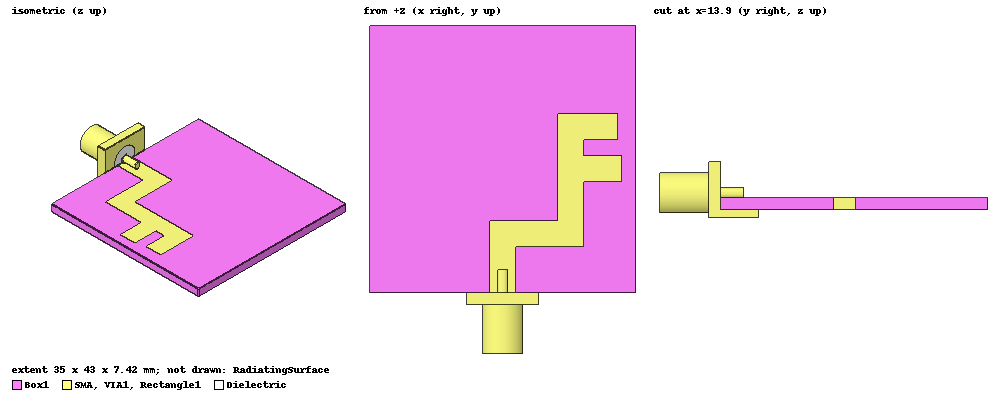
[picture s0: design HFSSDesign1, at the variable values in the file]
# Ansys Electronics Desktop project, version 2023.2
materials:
  vacuum: permittivity=1
  FR4_epoxy: permittivity=4.4 dielectric_loss_tangent=0.02
  Teflon (tm): permittivity=2.1 dielectric_loss_tangent=0.001
  brass: conductivity=15000000
  copper: permeability=0.999991 conductivity=58000000

design HFSSDesign1 (HFSS, HFSS Modal Network, model units mm)
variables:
  SubLen = 35mm
  SubWidth = 35mm
  SubHi = 1.6mm
  PIFA1_FL = 4.37mm
  PIFA1_LEN = 14mm
  PIFA2_FL = 21mm
  PIFA1_SEP = 2mm
  FeedWidth = 3.5mm
  FeedLen = 6mm
  PIFA1_OFF = 5.4mm
  PIFA1_SL = 5mm
  XX = 0mm
  PIFA2_Width = 3.5mm
  PIFA1_width = 3.5mm
  PIFA2_SEP = 6mm
  PIFA2_RAD = 16mm
  PIFA2_SL = 12mm
  ViaR1 = 0.5*PIFA1_width
  ViaR2 = 0.5*PIFA2_Width
  h = 1.6mm
  Inner_length = 3mm
  SRRpos = 3mm
  SRRslot = 0.5mm
  SRRThick = 0.5mm
  SRRinnerRad = 0.5mm
  StubLen = 5.8mm
  StubWidth = 15mm
  GndLen = 20mm
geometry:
  Box1 [FR4_epoxy] = box(corner=(-0.5*SubWidth, 0mm, 0mm), size=(SubWidth, SubLen, SubHi))
  VIA1 [copper] = cylinder(axis=Z, base_centre=(0.5*FeedWidth-XX+PIFA1_OFF+PIFA1_width+PIFA1_SL-ViaR1, FeedLen+PIFA1_LEN-PIFA1_width-PIFA1_SEP+ViaR1, 0), radius=1.4142136mm, height=SubHi)
  Dielectric [Teflon (tm)] = cylinder(axis=Y, base_centre=(0mm, 0mm, h+0.63mm), radius=2.43mm, height=-6mm)
  Dielectric_1 = Dielectric.copy()
  Inner = cylinder(axis=Y, base_centre=(0, Inner_length, h+0.63mm), radius=0.63mm, height=-6mm-Inner_length)
  Inner_1 = Inner.copy()
  Dielectric.subtract(Inner_1)
  Dielectric_2 = Dielectric.copy()
  SMA [brass] = box(corner=(-4.76mm, 0mm, -1.08mm), size=(9.52mm, -1.64mm, 7.42mm))
  Inner_2 = Inner.copy()
  SMA.subtract(Dielectric_2, Inner_2)
  Box3 = box(corner=(4.76mm, 0mm, -1.08mm), size=(-1.02mm, 5mm, 1.08mm))
  Box2 = box(corner=(-4.76mm, 0mm, -1.08mm), size=(1.02mm, 5mm, 1.08mm))
  SMA.unite(Box3, Box2)
  Outer = cylinder(axis=Y, base_centre=(0mm, 0mm, h+0.63mm), radius=2.61mm, height=-8mm)
  Outer.subtract(Dielectric_1)
  Outer1 = cylinder(axis=Y, base_centre=(0mm, 0mm, h+0.63mm), radius=2.43mm, height=-8mm)
  Dielectric1 = cylinder(axis=Y, base_centre=(0mm, 0mm, h+0.63mm), radius=2.43mm, height=-6mm)
  Dielectric_3 = Dielectric1.copy()
  Outer1.subtract(Dielectric_3)
  Outer.subtract(Outer1)
  SMA.unite(Outer, Inner)
  Dielectric1.delete()
  RadiatingSurface [vacuum] = region(absolute_offset=21.276596mm on all sides)
  Gnd1 = rectangle(corner=(-0.5*SubWidth, 0mm, 0mm), x_size=SubWidth, y_size=GndLen)
  IF1_F = rectangle(corner=(0.5*PIFA2_Width-XX+PIFA1_OFF+PIFA1_width, FeedLen+PIFA1_LEN, SubHi), x_size=PIFA1_FL, y_size=PIFA1_width)
  IFOFF1 = rectangle(corner=(0.5*PIFA2_width, FeedLen, SubHi), x_size=PIFA1_OFF+PIFA1_width, y_size=PIFA1_width)
  IFSL1 = rectangle(corner=(0.5*PIFA2_Width-XX+PIFA1_OFF+PIFA1_width, FeedLen+PIFA1_LEN-PIFA1_SEP-PIFA1_width, SubHi), x_size=PIFA1_SL, y_size=PIFA1_width)
  INFRad1 = rectangle(corner=(0.5*PIFA2_Width-XX+PIFA1_OFF, FeedLen+PIFA1_width, SubHi), x_size=PIFA1_width, y_size=PIFA1_LEN)
  IF1_F.unite(IFOFF1, IFSL1, INFRad1)
  Rectangle1 = rectangle(corner=((-3.5*0.5) mm, 0mm, 1.6mm), x_size=3.5mm, y_size=(6+3.5) mm)
  Rectangle1.unite(IF1_F)
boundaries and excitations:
  SMA: Finite Conductivity Objects=SMA Conductivity=15000000 Permeability=1 IsInternal
  Open1: Radiation Objects=RadiatingSurface
  FiniteCond3: Finite Conductivity Objects=Gnd1 Conductivity=58000000 Permeability=1 IsInternal
  FiniteCond4: Finite Conductivity Objects=Rectangle1 Conductivity=58000000 Permeability=1 IsInternal
  1: Lumped Port Faces=Dielectric.face(-y end) LumpedPortType=Modal Modes{Mode1{IntLine{(0, -6, -0.2) -> (0, -6, 1.6)} CharImp=Zpi RenormImp=50ohm}} Impedance=50ohm
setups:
  Setup1: HfssDriven Frequency=4.7GHz MaxDeltaS=0.02 MaximumPasses=10 MinimumPasses=1 MinimumConvergedPasses=1 PercentRefinement=30 BasisOrder=1 PortAccuracy=2 DrivenSolverType="Direct Solver"
    sweep Sweep: 2GHz to 8GHz, 201 points; Type=Interpolating SaveFields InterpTolerance=0.5 InterpMaxSolns=250 InterpUsePortImped=false PassivityErrorTolerance=0.0001
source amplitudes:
  1:1: 1V 0deg
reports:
  S Parameter Plot 1: dB(S(1,1)) vs Freq on Setup1 : Sweep; markers m1 at 4.13GHz, MY1 at y=-10.0847
